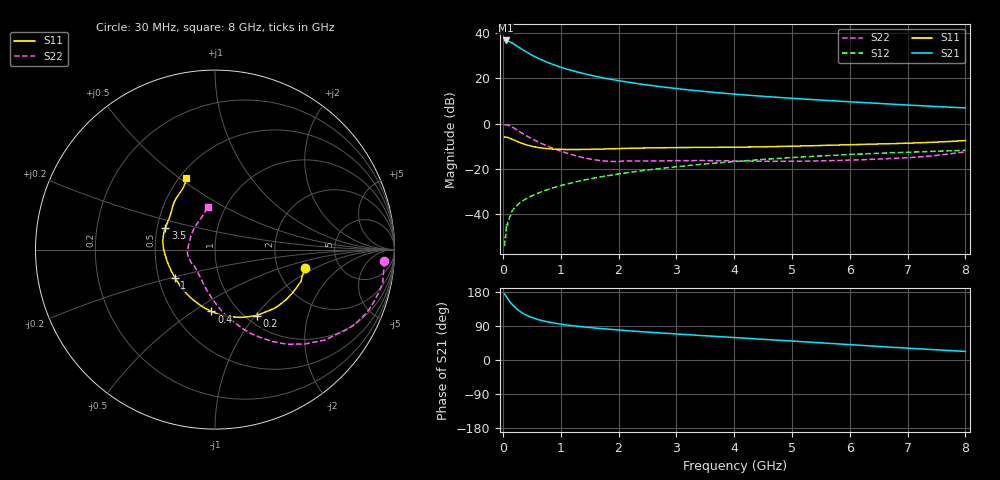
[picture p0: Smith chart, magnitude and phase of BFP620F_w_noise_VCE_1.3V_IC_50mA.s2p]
! Infineon Technologies  Discrete & RF Semiconductors
! BFP620F
! VCE =  1.3 V,  IC =  50 mA
! Common Emitter S-Parameters:  Dec 2014
# GHz  S  MA  R  50
!  f  S11  S21  S12  S22
! GHz  MAG  ANG  MAG  ANG  MAG  ANG  MAG  ANG
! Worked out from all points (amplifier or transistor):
!   95 points, 30 MHz to 8 GHz, reference 50 ohm
!   highest |S21| = 36.8 dB at 50 MHz (marker M1)
!   |S21| within 3 dB of that: start of sweep to 276.6 MHz
!   unconditionally stable (mu >= 1): 1.892 GHz to end of sweep
!   at 300 MHz: K = 0.50, MSG = 34.0 dB, |S12| = -34.7 dB
!   at 3.3 GHz: K = 1.03, MAG = 15.4 dB, |S12| = -18.2 dB
!   at 8 GHz: K = 1.05, MAG = 8.0 dB, |S12| = -11.7 dB
!   lowest NFmin = 1.55 dB at 450 MHz
!   S11 on the Smith chart (normalised r, x): 30 MHz: 2.86, -0.78; 200 MHz: 1.12, -1.01; 400 MHz: 0.76, -0.60; 1 GHz: 0.61, -0.21; 3.5 GHz: 0.55, +0.15; 8 GHz: 0.54, +0.53
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0.03  0.5117 -11.3  68.07 174.1  0.002 92.1  0.9415 -4.0
0.05  0.5075 -17.3  68.92 169.3  0.0031 81.3  0.9481 -8.9
0.08  0.4997 -25.9  67.83 162.5  0.0057 80.1  0.9389 -15.9
0.12  0.4781 -38.1  64.16 153.9  0.0092 77.4  0.9024 -24.7
0.15  0.4617 -45.8  61.48 148.5  0.0114 76.5  0.8639 -30.7
0.2  0.4345 -57.8  56.26 140.3  0.0139 74.4  0.7939 -39.3
0.25  0.4066 -68.2  51.29 133.5  0.0159 70.9  0.7248 -46.6
0.3  0.3837 -77.4  46.68 127.8  0.0185 68.5  0.6607 -52.9
0.35  0.3631 -85.9  42.45 122.9  0.0203 68.1  0.6024 -58.1
0.4  0.3454 -93.3  38.85 118.9  0.0221 67.6  0.5505 -62.7
0.5  0.3189 -105.7  32.85 112.4  0.0256 66.4  0.4686 -70.6
0.6  0.3014 -116.4  28.28 107.2  0.0293 67.0  0.4026 -77.0
0.8  0.282 -132.5  21.9 99.9  0.0363 67.0  0.3112 -87.8
1  0.2738 -144.7  17.77 94.7  0.0434 67.1  0.25 -97.4
1.4  0.2728 -161.9  12.8 87.3  0.0572 66.6  0.1784 -116.5
1.9  0.2812 -176.4  9.442 80.5  0.0746 65.0  0.1477 -140.4
2.7  0.2962 168.0  6.656 71.7  0.1026 60.8  0.1519 -161.3
3.5  0.302 156.3  5.153 64.0  0.13 55.9  0.1541 -172.7
4.1  0.3061 148.7  4.417 58.4  0.1501 52.1  0.1511 179.0
5.4  0.33 136.5  3.397 46.3  0.1925 42.7  0.1515 154.9
6.7  0.3644 124.5  2.725 33.9  0.2286 32.6  0.1714 128.9
8  0.4277 112.1  2.241 22.6  0.2599 22.9  0.241 99.9
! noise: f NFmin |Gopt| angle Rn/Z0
0.45  1.55  0.23  -171  0.17
0.9  1.58  0.23  -171  0.15
1.5  1.6  0.27  -155  0.1
1.8  1.61  0.27  -153  0.1
1.9  1.62  0.27  -151  0.1
2.4  1.63  0.27  214  0.11
3.5  1.71  0.28  221  0.13
5.5  1.82  0.32  252  0.22
6  1.84  0.32  261  0.28
